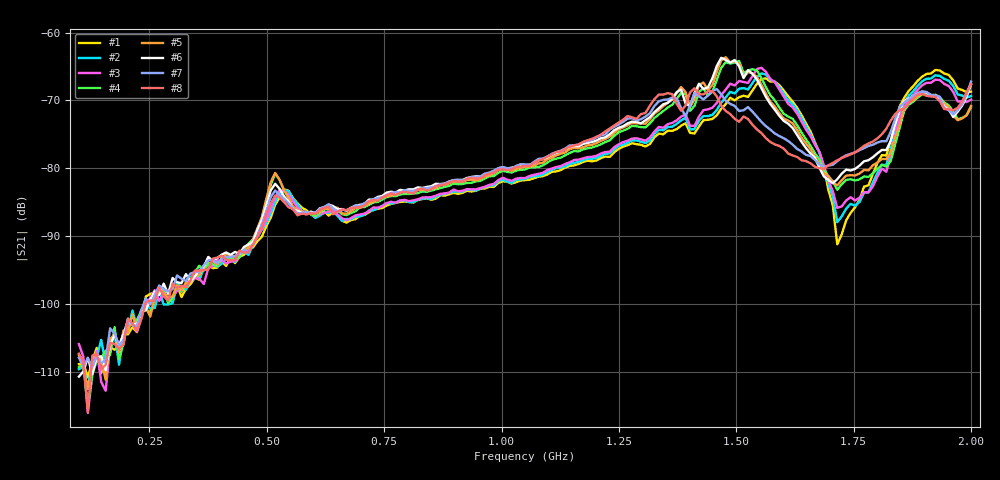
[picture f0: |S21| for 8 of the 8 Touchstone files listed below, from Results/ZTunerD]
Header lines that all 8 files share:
!Keysight Technologies,N5242B,MY48420967,A.15.65.19
!Correction: S11(C  2-Port  )
!S21(C  2-Port  )
!S12(C  2-Port  )
!S22(C  2-Port  )
!S2P File: Measurements: S11, S21, S12, S22:
# Hz S  dB  R 50
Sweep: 100 MHz to 2 GHz
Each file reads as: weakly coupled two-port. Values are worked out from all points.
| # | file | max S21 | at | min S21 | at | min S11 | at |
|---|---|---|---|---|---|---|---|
| 1 | S-ParamMeas20k_ZTunerD.s2p | -65.50 dB | 1.924 GHz | -110.8 dB | 119 MHz | -3.0 dB | 1.933 GHz |
| 2 | S-ParamMeas25k_ZTunerD.s2p | -66.01 dB | 1.554 GHz | -112.4 dB | 119 MHz | -3.0 dB | 1.933 GHz |
| 3 | S-ParamMeas30k_ZTunerD.s2p | -65.18 dB | 1.554 GHz | -116.1 dB | 119 MHz | -3.0 dB | 1.933 GHz |
| 4 | S-ParamMeas77k_ZTunerD.s2p | -64.18 dB | 1.506 GHz | -115.4 dB | 119 MHz | -3.2 dB | 1.933 GHz |
| 5 | S-ParamMeas100k_ZTunerD.s2p | -63.63 dB | 1.478 GHz | -112.5 dB | 119 MHz | -3.3 dB | 1.933 GHz |
| 6 | S-ParamMeas200k_ZTunerD.s2p | -63.71 dB | 1.468 GHz | -110.7 dB | 100 MHz | -3.9 dB | 1.933 GHz |
| 7 | S-ParamMeas250k_ZTunerD.s2p | -67.20 dB | 2 GHz | -109.3 dB | 128.5 MHz | -4.3 dB | 1.933 GHz |
| 8 | S-ParamMeas290k_ZTunerD.s2p | -67.63 dB | 2 GHz | -116.0 dB | 119 MHz | -4.5 dB | 1.933 GHz |
